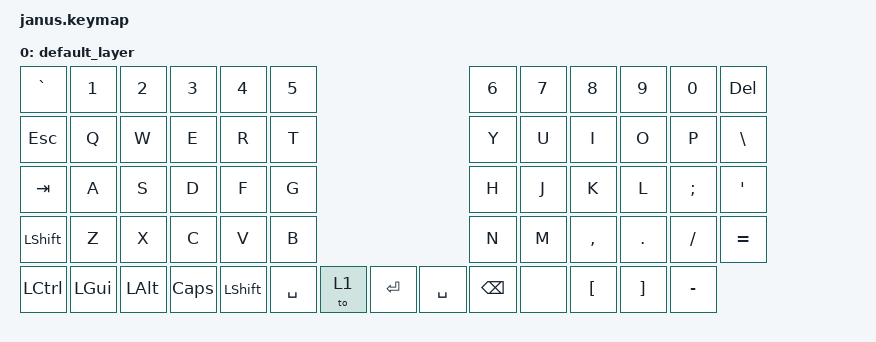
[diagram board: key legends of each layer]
#include <behaviors.dtsi>
#include <dt-bindings/zmk/bt.h>
#include <dt-bindings/zmk/keys.h>

/ {
    keymap {
        compatible = "zmk,keymap";

        default_layer {
            bindings = <
&kp GRAVE   &kp N1    &kp N2    &kp N3    &kp N4      &kp N5                                                  &kp N6     &kp N7    &kp N8     &kp N9    &kp N0     &kp DEL
&kp ESCAPE  &kp Q     &kp W     &kp E     &kp R       &kp T                                                   &kp Y      &kp U     &kp I      &kp O     &kp P      &kp BSLH
&kp TAB     &kp A     &kp S     &kp D     &kp F       &kp G                                                   &kp H      &kp J     &kp K      &kp L     &kp SEMI   &kp SQT
&kp LSHIFT  &kp Z     &kp X     &kp C     &kp V       &kp B                                                   &kp N      &kp M     &kp COMMA  &kp DOT   &kp FSLH   &kp EQUAL
&kp LCTRL   &kp LGUI  &kp LALT            &kp CAPS  &kp LSHIFT  &kp SPACE  &to 1        &kp ENTER  &kp SPACE  &kp BSPC   &none                &kp LBKT  &kp RBKT   &kp MINUS
            >;
        };
    };
};
